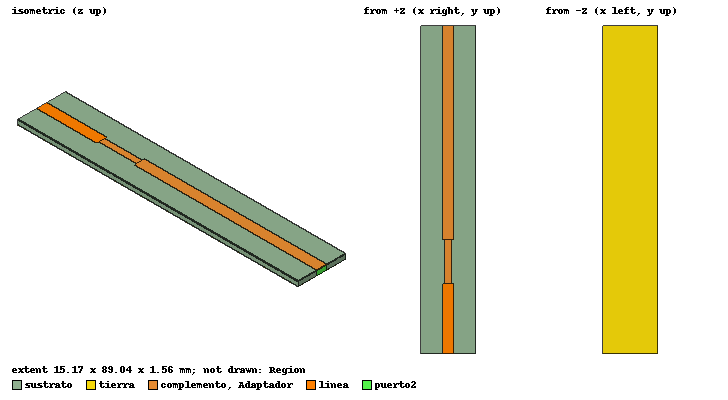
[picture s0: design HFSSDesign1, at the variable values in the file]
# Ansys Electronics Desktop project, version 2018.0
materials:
  vacuum: permittivity=1
  FR4_epoxy: permittivity=4.4 dielectric_loss_tangent=0.02
  copper: permeability=0.999991 conductivity=58000000
  air: permittivity=1.0006 permeability=1.0000004

design HFSSDesign1 (HFSS, DrivenModal, model units mm)
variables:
  WL = 3.2539mm
  LL = 19.12mm
  lambda = 100mm
  LM = 47.67mm
  h = 1.524mm
  t = 0.018mm
  wa = 1.89mm
  la = 58mm
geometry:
  sustrato [FR4_epoxy] = box(corner=(0mm, 0mm, 0), size=(WL+LM/4, LL+LM/4+la, h))
  linea [copper] = box(corner=((WL+LM/4)/2 -wl/2, 0mm, h), size=(WL, LL, t))
  tierra [copper] = box(corner=(0mm, 0mm, -t), size=(WL+LM/4, LL+lm/4+la, t))
  puerto1 = rectangle(corner=((WL+LM/4)/2 -wl/2, 0mm, 0), z_size=h, x_size=wl)
  puerto2 = rectangle(corner=((WL+LM/4)/2 -wl/2, LL +lm/4 +la, 0mm), z_size=h, x_size=wl)
  Region [air] = region(absolute_offset=lambda/4 on all sides)
  Adaptador [copper] = box(corner=((WL+LM/4)/2-wa/2, LL, h), size=(WA, LM/4, t))
  complemento [copper] = box(corner=((WL+LM/4)/2-wl/2, LL+LM/4, h), size=(wl, la, t))
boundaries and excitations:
  Rad1: Radiation Objects=Region
  1: Lumped Port Objects=puerto1 Modes{Mode1{IntLine{middle of puerto1.edge(z at corner) -> middle of puerto1.edge(z opposite corner)} CharImp=Zpi RenormImp=107ohm}} Impedance=47ohm
  2: Lumped Port Objects=puerto2 Modes{Mode1{IntLine{middle of puerto2.edge(z at corner) -> middle of puerto2.edge(z opposite corner)} CharImp=Zpi}} Impedance="70ohm + 25i ohm"
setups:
  Setup1: HfssDriven Frequency=4GHz MaxDeltaS=0.02 MaximumPasses=6 MinimumPasses=1 MinimumConvergedPasses=1 PercentRefinement=30 BasisOrder=1 PortAccuracy=2
    sweep Sweep: 1GHz to 5GHz step 0.05GHz; Type=Interpolating InterpTolerance=0.5 InterpMaxSolns=250 InterpUsePortImped=false PassivityErrorTolerance=0.0001
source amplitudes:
  1:1: 1W 0deg
  2:1: 0W 0deg
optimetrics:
  ParametricSetup2: Parametric Sim._Setups=[Setup1]
    sweep wa: LIN 0mm 0.2mm 0.02mm
    sweep la: LIN 148mm 150mm 0.5mm
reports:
  S Parameter Plot 1: dB(S(1,1)) vs Freq on Setup1 : Sweep; markers MX1 at x=3.002448e+09
  Z Parameter Plot 1: re(Z(1,1)), im(Z(1,1)) vs Freq on Setup1 : Sweep; markers MX1 at x=4.0025349e+09
  VSWR Plot 1: VSWR(1) vs Freq on Setup1 : Sweep; markers MX1 at x=3.0023838e+09
  Z Parameter Plot 2: dB(ActiveZ(1:1)) vs Freq on Setup1 : Sweep [WL=all LL=all]; im(Z(1,1)) vs Freq on Setup1 : Sweep [LL=all]; markers MX1 at x=4.0025349e+09
  VSWR Plot 2: VSWR(1) vs Freq on Setup1 : Sweep [wa=all la=all]; markers MX1 at x=4.0008133e+09
  Active Z Parameter Plot 3: re(ActiveZ(1:1)) vs Freq on Setup1 : Sweep [wa=0.16195mm la=154mm]; im(ActiveZ(1:1)) vs Freq on Setup1 : Sweep [wa=0.10195mm la=154mm]; markers MX1 at x=4.0025221e+09
  S Parameter Plot 2: dB(S(1,1)) vs Freq on Setup1 : Sweep [wa=all la=all]; markers MX1 at x=4.002448e+09
  Active Z Parameter Plot 5: re(ActiveZ(1:1)) vs Freq on Setup1 : Sweep [wa=0.12195mm la=149mm]; im(ActiveZ(1:1)) vs Freq on Setup1 : Sweep [wa=0.16195mm la=154mm]; markers MX1 at x=3.9974779e+09
  Active Z Parameter Plot 6: re(ActiveZ(1:1)), im(ActiveZ(1:1)) vs Freq on Setup1 : Sweep [wa=all la=all]; markers MX1 at x=3e+09
